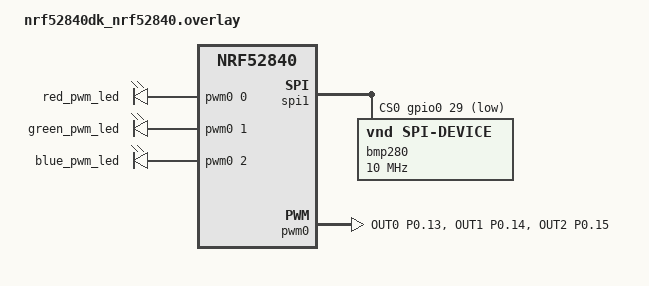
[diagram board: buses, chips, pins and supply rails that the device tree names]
&spi1 {
    compatible = "nordic,nrf-spim";
    status = "okay";
    cs-gpios = <&gpio0 29 GPIO_ACTIVE_LOW>;

	bmp280: bmp280@0 {
		compatible = "vnd,spi-device";
        status = "okay";
		reg = <0>;
        spi-max-frequency = <DT_FREQ_M(10)>;
	};
};

&pinctrl {
	pwm0_default_custom: pwm0_default_custom {
		group1 {
            /* Defines pin numbers to be used by pwm */
			psels = <NRF_PSEL(PWM_OUT0, 0, 13) NRF_PSEL(PWM_OUT1, 0, 14) NRF_PSEL(PWM_OUT2, 0, 15)>;
			nordic,invert;
		};
	};

    pwm0_sleep_custom: pwm0_sleep_custom {
		group1 {
			psels = <NRF_PSEL(PWM_OUT0, 0, 13) NRF_PSEL(PWM_OUT1, 0, 14) NRF_PSEL(PWM_OUT2, 0, 15)>;
			low-power-enable;
		};
	};
};

&pwm0 {
	status = "okay";
	pinctrl-0 = <&pwm0_default_custom>;
	pinctrl-1 = <&pwm0_sleep_custom>;
	pinctrl-names = "default", "sleep";
};

/ {
    pwmleds {
        compatible = "pwm-leds";

        red_pwm_led: red_pwm_led {
            pwms = <&pwm0 0 PWM_MSEC(20) PWM_POLARITY_INVERTED>;
        };
        green_pwm_led: green_pwm_led {
            pwms = <&pwm0 1 PWM_MSEC(20) PWM_POLARITY_INVERTED>;
        };
        blue_pwm_led: blue_pwm_led {
            pwms = <&pwm0 2 PWM_MSEC(20) PWM_POLARITY_INVERTED>;
        };
    };
};
